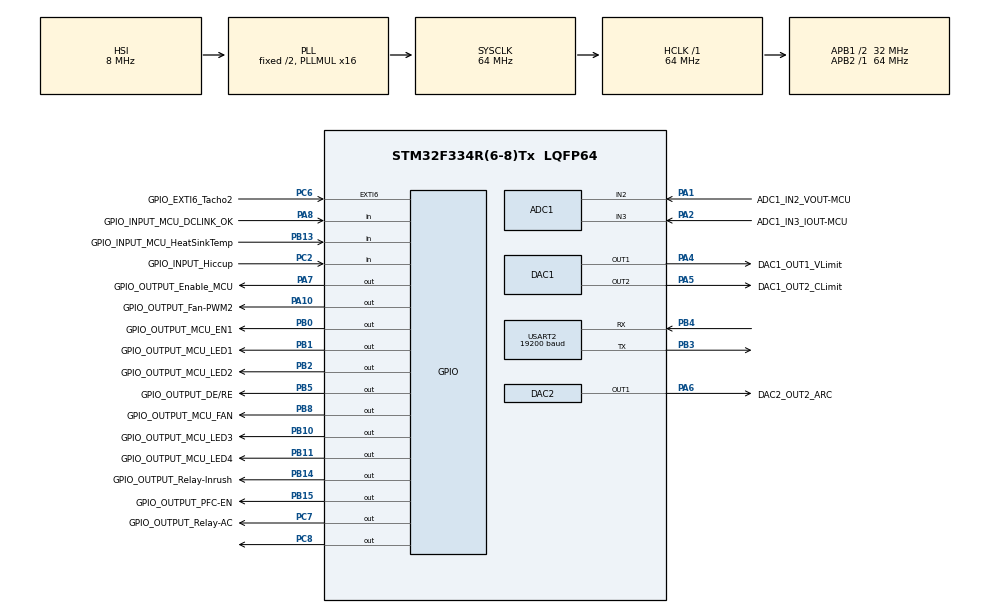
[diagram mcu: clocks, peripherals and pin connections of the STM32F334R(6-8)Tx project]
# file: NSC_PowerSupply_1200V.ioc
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ADC1.Channel-6\#ChannelRegularConversion=ADC_CHANNEL_2
ADC1.Channel-7\#ChannelRegularConversion=ADC_CHANNEL_3
ADC1.ContinuousConvMode=ENABLE
ADC1.DMAContinuousRequests=ENABLE
ADC1.NbrOfConversion=2
ADC1.Rank-7\#ChannelRegularConversion=2
ADC1.SamplingTime-6\#ChannelRegularConversion=ADC_SAMPLETIME_181CYCLES_5
ADC1.SamplingTime-7\#ChannelRegularConversion=ADC_SAMPLETIME_181CYCLES_5
ADC1.SubFamily=STM32F334x8
ADC1.master=1
DAC1.DAC_OutputBuffer=DAC_OUTPUTBUFFER_DISABLE
Dma.ADC1.0.Direction=DMA_PERIPH_TO_MEMORY
Dma.ADC1.0.Instance=DMA1_Channel1
Dma.ADC1.0.MemDataAlignment=DMA_MDATAALIGN_WORD
Dma.ADC1.0.MemInc=DMA_MINC_ENABLE
Dma.ADC1.0.Mode=DMA_CIRCULAR
Dma.ADC1.0.PeriphDataAlignment=DMA_PDATAALIGN_WORD
Dma.ADC1.0.PeriphInc=DMA_PINC_DISABLE
Dma.ADC1.0.Priority=DMA_PRIORITY_LOW
Dma.Request0=ADC1
FREERTOS.INCLUDE_vTaskDelete=1
FREERTOS.Tasks01=defaultTask,8,128,StartDefaultTask,Default,NULL,Dynamic,NULL,NULL;BoardCommTask,54,128,BoardComm,Default,NULL,Dynamic,NULL,NULL;SputterTask,55,128,Sputter,Default,NULL,Dynamic,NULL,NULL;ADC_Caculation_,53,128,ADC_Caculation,Default,NULL,Dynamic,NULL,NULL
FREERTOS.configTOTAL_HEAP_SIZE=4096
FREERTOS.configUSE_NEWLIB_REENTRANT=1
FREERTOS.configUSE_PREEMPTION=1
Mcu.Family=STM32F3
Mcu.Name=STM32F334R(6-8)Tx
Mcu.Package=LQFP64
NVIC.DMA1_Channel1_IRQn=true\:5\:0\:true\:false\:true\:true\:true\:true\:true
NVIC.EXTI9_5_IRQn=true\:5\:0\:false\:false\:true\:true\:true\:true\:true
NVIC.PriorityGroup=NVIC_PRIORITYGROUP_4
NVIC.TIM1_UP_TIM16_IRQn=true\:5\:0\:false\:false\:true\:true\:true\:true\:true
NVIC.TIM6_DAC1_IRQn=true\:15\:0\:false\:false\:true\:false\:true\:true\:true
NVIC.TimeBase=TIM6_DAC1_IRQn
NVIC.TimeBaseIP=TIM6
NVIC.USART2_IRQn=true\:5\:0\:true\:false\:true\:true\:true\:true\:true
PA1.GPIO_Label=ADC1_IN2_VOUT-MCU
PA1.Mode=IN2-Single-Ended
PA1.Signal=ADC1_IN2
PA10.GPIO_Label=GPIO_OUTPUT_Fan-PWM2
PA10.Signal=GPIO_Output
PA13.Mode=Serial_Wire
PA13.Signal=SYS_JTMS-SWDIO
PA14.Mode=Serial_Wire
PA14.Signal=SYS_JTCK-SWCLK
PA2.GPIO_Label=ADC1_IN3_IOUT-MCU
PA2.Mode=IN3-Single-Ended
PA2.Signal=ADC1_IN3
PA4.GPIO_Label=DAC1_OUT1_VLimit
PA4.GPIO_Mode=GPIO_MODE_ANALOG
PA4.GPIO_PuPd=GPIO_NOPULL
PA4.Signal=COMP_DAC11_group
PA5.GPIO_Label=DAC1_OUT2_CLimit
PA5.GPIO_Mode=GPIO_MODE_ANALOG
PA5.GPIO_PuPd=GPIO_NOPULL
PA5.Signal=COMP_DAC12_group
PA6.GPIO_Label=DAC2_OUT2_ARC
PA6.Signal=COMP_DAC21_group
PA7.GPIO_Label=GPIO_OUTPUT_Enable_MCU
PA7.PinState=GPIO_PIN_RESET
PA7.Signal=GPIO_Output
PA8.GPIO_Label=GPIO_INPUT_MCU_DCLINK_OK
PA8.Signal=GPIO_Input
PB0.GPIO_Label=GPIO_OUTPUT_MCU_EN1
PB0.Signal=GPIO_Output
PB1.GPIO_Label=GPIO_OUTPUT_MCU_LED1
PB1.Signal=GPIO_Output
PB10.GPIO_Label=GPIO_OUTPUT_MCU_LED3
PB10.Signal=GPIO_Output
PB11.GPIO_Label=GPIO_OUTPUT_MCU_LED4
PB11.Signal=GPIO_Output
PB13.GPIO_Label=GPIO_INPUT_MCU_HeatSinkTemp
PB13.Signal=GPIO_Input
PB14.GPIO_Label=GPIO_OUTPUT_Relay-Inrush
PB14.Signal=GPIO_Output
PB15.GPIO_Label=GPIO_OUTPUT_PFC-EN
PB15.GPIO_ModeDefaultOutputPP=GPIO_MODE_OUTPUT_PP
PB15.GPIO_PuPd=GPIO_NOPULL
PB15.GPIO_Speed=GPIO_SPEED_FREQ_LOW
PB15.Signal=GPIO_Output
PB2.GPIO_Label=GPIO_OUTPUT_MCU_LED2
PB2.Signal=GPIO_Output
PB3.Mode=Asynchronous
PB3.Signal=USART2_TX
PB4.Mode=Asynchronous
PB4.Signal=USART2_RX
PB5.GPIO_Label=GPIO_OUTPUT_DE/RE
PB5.Signal=GPIO_Output
PB8.GPIO_Label=GPIO_OUTPUT_MCU_FAN
PB8.Signal=GPIO_Output
PC2.GPIO_Label=GPIO_INPUT_Hiccup
PC2.GPIO_PuPd=GPIO_PULLUP
PC2.Signal=GPIO_Input
PC6.GPIO_Label=GPIO_EXTI6_Tacho2
PC6.GPIO_ModeDefaultEXTI=GPIO_MODE_IT_RISING
PC6.Signal=GPXTI6
PC7.GPIO_Label=GPIO_OUTPUT_Relay-AC
PC7.Signal=GPIO_Output
PC8.Signal=GPIO_Output
PF0\ /\ OSC_IN.Signal=RCC_OSC_IN
PF1\ /\ OSC_OUT.Signal=RCC_OSC_OUT
ProjectManager.HeapSize=0x200
ProjectManager.StackSize=0x400
ProjectManager.TargetToolchain=STM32CubeIDE
RCC.AHBFreq_Value=64000000
RCC.APB1CLKDivider=RCC_HCLK_DIV2
RCC.APB1Freq_Value=32000000
RCC.APB1TimFreq_Value=64000000
RCC.APB2Freq_Value=64000000
RCC.APB2TimFreq_Value=64000000
RCC.CortexFreq_Value=64000000
RCC.HCLKFreq_Value=64000000
RCC.HSE_VALUE=8000000
RCC.HSI_VALUE=8000000
RCC.LSE_VALUE=32768
RCC.PLLMUL=RCC_PLL_MUL16
RCC.SYSCLKFreq_VALUE=64000000
RCC.SYSCLKSourceVirtual=RCC_SYSCLKSOURCE_PLLCLK
RCC.Usart1ClockSelection=RCC_USART1CLKSOURCE_SYSCLK
RCC.Usart2ClockSelection=RCC_USART2CLKSOURCE_SYSCLK
SH.COMP_DAC11_group.0=DAC1_OUT1,DAC_OUT1
SH.COMP_DAC12_group.0=DAC1_OUT2,DAC_OUT2
SH.COMP_DAC21_group.0=DAC2_OUT1,Switch_Enable_OUT1
TIM1.AutoReloadPreload=TIM_AUTORELOAD_PRELOAD_ENABLE
TIM1.Period=2000
TIM1.Prescaler=32000
TIM1.TIM_MasterOutputTrigger=TIM_TRGO_UPDATE
USART2.BaudRate=19200
USART2.VirtualMode-Asynchronous=VM_ASYNC
VP_CRC_VS_CRC.Mode=CRC_Activate
VP_FREERTOS_VS_CMSIS_V2.Mode=CMSIS_V2
VP_SYS_VS_tim6.Mode=TIM6
VP_TIM1_VS_ClockSourceINT.Mode=Internal
board=custom

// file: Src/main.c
/* USER CODE BEGIN Header */
/**
  ******************************************************************************
  * @file           : main.c
  * @brief          : Main program body
  ******************************************************************************
  * @attention
  *
  * <h2><center>&copy; Copyright (c) 2022 STMicroelectronics.
  * All rights reserved.</center></h2>
  *
  * This software component is licensed by ST under BSD 3-Clause license,
  * the "License"; You may not use this file except in compliance with the
  * License. You may obtain a copy of the License at:
  *                        opensource.org/licenses/BSD-3-Clause
  *
  ******************************************************************************
  */
/* USER CODE END Header */
#include "main.h"
#include "cmsis_os.h"

/* USER CODE BEGIN Includes */
#include "string.h"
#include "stdio.h"
#include "stdint.h"
#include "BoardComm.h"
#include "Sputter.h"
#include "ADC_Calculation.h"

/* USER CODE END Includes */

ADC_HandleTypeDef hadc1;
DMA_HandleTypeDef hdma_adc1;

CRC_HandleTypeDef hcrc;

DAC_HandleTypeDef hdac1;
DAC_HandleTypeDef hdac2;

TIM_HandleTypeDef htim1;

UART_HandleTypeDef huart2;

/* Definitions for defaultTask */
osThreadId_t defaultTaskHandle;
const osThreadAttr_t defaultTask_attributes = {
  .name = "defaultTask",
  .stack_size = 128 * 4,
  .priority = (osPriority_t) osPriorityLow,
};
/* Definitions for BoardCommTask */
osThreadId_t BoardCommTaskHandle;
const osThreadAttr_t BoardCommTask_attributes = {
  .name = "BoardCommTask",
  .stack_size = 128 * 4,
  .priority = (osPriority_t) osPriorityRealtime6,
};
/* Definitions for SputterTask */
osThreadId_t SputterTaskHandle;
const osThreadAttr_t SputterTask_attributes = {
  .name = "SputterTask",
  .stack_size = 128 * 4,
  .priority = (osPriority_t) osPriorityRealtime7,
};
/* Definitions for ADC_Caculation_ */
osThreadId_t ADC_Caculation_Handle;
const osThreadAttr_t ADC_Caculation__attributes = {
  .name = "ADC_Caculation_",
  .stack_size = 128 * 4,
  .priority = (osPriority_t) osPriorityRealtime5,
};
/* USER CODE BEGIN PV */

uint32_t ADC_Calibration_Factor;
uint32_t ADC_Buffer[5];

GPIO_PinState flag;
/* USER CODE END PV */

void SystemClock_Config(void);
static void MX_GPIO_Init(void);
static void MX_DMA_Init(void);
static void MX_ADC1_Init(void);
static void MX_DAC1_Init(void);
static void MX_USART2_UART_Init(void);
static void MX_CRC_Init(void);
static void MX_DAC2_Init(void);
static void MX_TIM1_Init(void);
void StartDefaultTask(void *argument);
void BoardComm(void *argument);
void Sputter(void *argument);
void ADC_Caculation(void *argument);

/* USER CODE BEGIN PFP */
void i2s(unsigned long int ,char str[5]);                // Integer to string data conversion

/* USER CODE END PFP */

int main(void)
{

  /* MCU Configuration--------------------------------------------------------*/

  /* Reset of all peripherals, Initializes the Flash interface and the Systick. */
  HAL_Init();

  /* Configure the system clock */
  SystemClock_Config();

  /* Initialize all configured peripherals */
  MX_GPIO_Init();
  MX_DMA_Init();
  MX_ADC1_Init();
  MX_DAC1_Init();
  MX_USART2_UART_Init();
  MX_CRC_Init();
  MX_DAC2_Init();
  MX_TIM1_Init();
  /* USER CODE BEGIN 2 */
	HAL_DAC_Start(&hdac1, DAC_CHANNEL_1);
	HAL_DAC_Start(&hdac1, DAC_CHANNEL_2);
	HAL_DAC_Start(&hdac2, DAC_CHANNEL_1);
	//HAL_DAC_Start(&hdac2, DAC_CHANNEL_2);
	__HAL_UART_ENABLE_IT(&huart2, UART_IT_RXNE);	// Receive Data register not empty interrupt
	__HAL_UART_ENABLE_IT(&huart2, UART_IT_TC);		// Transmission complete interrupt
	HAL_ADCEx_Calibration_Start(&hadc1, ADC_SINGLE_ENDED);
	ADC_Calibration_Factor = HAL_ADCEx_Calibration_GetValue(&hadc1, ADC_SINGLE_ENDED);
	HAL_ADCEx_Calibration_SetValue(&hadc1, ADC_SINGLE_ENDED, ADC_Calibration_Factor);
	HAL_ADC_Start_DMA(&hadc1, (uint32_t*) ADC_Buffer, 4);
	HAL_TIM_Base_Start_IT(&htim1);
	HAL_GPIO_WritePin(GPIOB,GPIO_PIN_5,GPIO_PIN_RESET);							// DE/RE = 0 ----> ADM485 is in recieve mode
	HAL_GPIO_WritePin(GPIOB,GPIO_PIN_15,GPIO_PIN_SET);							// Disable PFC
	HAL_GPIO_WritePin(GPIOB,GPIO_PIN_1,GPIO_PIN_SET);								// MCU active

  /* USER CODE END 2 */

  /* Init scheduler */
  osKernelInitialize();

  /* Create the thread(s) */
  /* creation of defaultTask */
  defaultTaskHandle = osThreadNew(StartDefaultTask, NULL, &defaultTask_attributes);

  /* creation of BoardCommTask */
  BoardCommTaskHandle = osThreadNew(BoardComm, NULL, &BoardCommTask_attributes);

  /* creation of SputterTask */
  SputterTaskHandle = osThreadNew(Sputter, NULL, &SputterTask_attributes);

  /* creation of ADC_Caculation_ */
  ADC_Caculation_Handle = osThreadNew(ADC_Caculation, NULL, &ADC_Caculation__attributes);

  /* Start scheduler */
  osKernelStart();

  /* We should never get here as control is now taken by the scheduler */
  /* Infinite loop */
  while (1)
  {

  }
}

void SystemClock_Config(void)
{
  RCC_OscInitTypeDef RCC_OscInitStruct = {0};
  RCC_ClkInitTypeDef RCC_ClkInitStruct = {0};
  RCC_PeriphCLKInitTypeDef PeriphClkInit = {0};

  /** Initializes the RCC Oscillators according to the specified parameters
  * in the RCC_OscInitTypeDef structure.
  */
  RCC_OscInitStruct.OscillatorType = RCC_OSCILLATORTYPE_HSI;
  RCC_OscInitStruct.HSIState = RCC_HSI_ON;
  RCC_OscInitStruct.HSICalibrationValue = RCC_HSICALIBRATION_DEFAULT;
  RCC_OscInitStruct.PLL.PLLState = RCC_PLL_ON;
  RCC_OscInitStruct.PLL.PLLSource = RCC_PLLSOURCE_HSI;
  RCC_OscInitStruct.PLL.PLLMUL = RCC_PLL_MUL16;
  if (HAL_RCC_OscConfig(&RCC_OscInitStruct) != HAL_OK)
  {
    Error_Handler();
  }

  /** Initializes the CPU, AHB and APB buses clocks
  */
  RCC_ClkInitStruct.ClockType = RCC_CLOCKTYPE_HCLK|RCC_CLOCKTYPE_SYSCLK
                              |RCC_CLOCKTYPE_PCLK1|RCC_CLOCKTYPE_PCLK2;
  RCC_ClkInitStruct.SYSCLKSource = RCC_SYSCLKSOURCE_PLLCLK;
  RCC_ClkInitStruct.AHBCLKDivider = RCC_SYSCLK_DIV1;
  RCC_ClkInitStruct.APB1CLKDivider = RCC_HCLK_DIV2;
  RCC_ClkInitStruct.APB2CLKDivider = RCC_HCLK_DIV1;

  if (HAL_RCC_ClockConfig(&RCC_ClkInitStruct, FLASH_LATENCY_2) != HAL_OK)
  {
    Error_Handler();
  }
  PeriphClkInit.PeriphClockSelection = RCC_PERIPHCLK_TIM1|RCC_PERIPHCLK_ADC12;
  PeriphClkInit.Adc12ClockSelection = RCC_ADC12PLLCLK_DIV1;
  PeriphClkInit.Tim1ClockSelection = RCC_TIM1CLK_HCLK;
  if (HAL_RCCEx_PeriphCLKConfig(&PeriphClkInit) != HAL_OK)
  {
    Error_Handler();
  }
}

static void MX_ADC1_Init(void)
{

  ADC_MultiModeTypeDef multimode = {0};
  ADC_ChannelConfTypeDef sConfig = {0};

  /** Common config
  */
  hadc1.Instance = ADC1;
  hadc1.Init.ClockPrescaler = ADC_CLOCK_ASYNC_DIV1;
  hadc1.Init.Resolution = ADC_RESOLUTION_12B;
  hadc1.Init.ScanConvMode = ADC_SCAN_ENABLE;
  hadc1.Init.ContinuousConvMode = ENABLE;
  hadc1.Init.DiscontinuousConvMode = DISABLE;
  hadc1.Init.ExternalTrigConvEdge = ADC_EXTERNALTRIGCONVEDGE_NONE;
  hadc1.Init.ExternalTrigConv = ADC_SOFTWARE_START;
  hadc1.Init.DataAlign = ADC_DATAALIGN_RIGHT;
  hadc1.Init.NbrOfConversion = 2;
  hadc1.Init.DMAContinuousRequests = ENABLE;
  hadc1.Init.EOCSelection = ADC_EOC_SINGLE_CONV;
  hadc1.Init.LowPowerAutoWait = DISABLE;
  hadc1.Init.Overrun = ADC_OVR_DATA_OVERWRITTEN;
  if (HAL_ADC_Init(&hadc1) != HAL_OK)
  {
    Error_Handler();
  }

  /** Configure the ADC multi-mode
  */
  multimode.Mode = ADC_MODE_INDEPENDENT;
  if (HAL_ADCEx_MultiModeConfigChannel(&hadc1, &multimode) != HAL_OK)
  {
    Error_Handler();
  }

  /** Configure Regular Channel
  */
  sConfig.Channel = ADC_CHANNEL_2;
  sConfig.Rank = ADC_REGULAR_RANK_1;
  sConfig.SingleDiff = ADC_SINGLE_ENDED;
  sConfig.SamplingTime = ADC_SAMPLETIME_181CYCLES_5;
  sConfig.OffsetNumber = ADC_OFFSET_NONE;
  sConfig.Offset = 0;
  if (HAL_ADC_ConfigChannel(&hadc1, &sConfig) != HAL_OK)
  {
    Error_Handler();
  }

  /** Configure Regular Channel
  */
  sConfig.Channel = ADC_CHANNEL_3;
  sConfig.Rank = ADC_REGULAR_RANK_2;
  if (HAL_ADC_ConfigChannel(&hadc1, &sConfig) != HAL_OK)
  {
    Error_Handler();
  }

}

static void MX_CRC_Init(void)
{

  hcrc.Instance = CRC;
  hcrc.Init.DefaultPolynomialUse = DEFAULT_POLYNOMIAL_ENABLE;
  hcrc.Init.DefaultInitValueUse = DEFAULT_INIT_VALUE_ENABLE;
  hcrc.Init.InputDataInversionMode = CRC_INPUTDATA_INVERSION_NONE;
  hcrc.Init.OutputDataInversionMode = CRC_OUTPUTDATA_INVERSION_DISABLE;
  hcrc.InputDataFormat = CRC_INPUTDATA_FORMAT_BYTES;
  if (HAL_CRC_Init(&hcrc) != HAL_OK)
  {
    Error_Handler();
  }

}

static void MX_DAC1_Init(void)
{

  DAC_ChannelConfTypeDef sConfig = {0};

  /** DAC Initialization
  */
  hdac1.Instance = DAC1;
  if (HAL_DAC_Init(&hdac1) != HAL_OK)
  {
    Error_Handler();
  }

  /** DAC channel OUT1 config
  */
  sConfig.DAC_Trigger = DAC_TRIGGER_NONE;
  sConfig.DAC_OutputBuffer = DAC_OUTPUTBUFFER_DISABLE;
  if (HAL_DAC_ConfigChannel(&hdac1, &sConfig, DAC_CHANNEL_1) != HAL_OK)
  {
    Error_Handler();
  }

  /** DAC channel OUT2 config
  */
  sConfig.DAC_OutputSwitch = DAC_OUTPUTSWITCH_ENABLE;
  if (HAL_DAC_ConfigChannel(&hdac1, &sConfig, DAC_CHANNEL_2) != HAL_OK)
  {
    Error_Handler();
  }

}

static void MX_DAC2_Init(void)
{

  DAC_ChannelConfTypeDef sConfig = {0};

  /** DAC Initialization
  */
  hdac2.Instance = DAC2;
  if (HAL_DAC_Init(&hdac2) != HAL_OK)
  {
    Error_Handler();
  }

  /** DAC channel OUT1 config
  */
  sConfig.DAC_Trigger = DAC_TRIGGER_NONE;
  sConfig.DAC_OutputSwitch = DAC_OUTPUTSWITCH_ENABLE;
  if (HAL_DAC_ConfigChannel(&hdac2, &sConfig, DAC_CHANNEL_1) != HAL_OK)
  {
    Error_Handler();
  }

}

static void MX_TIM1_Init(void)
{

  TIM_ClockConfigTypeDef sClockSourceConfig = {0};
  TIM_MasterConfigTypeDef sMasterConfig = {0};

  htim1.Instance = TIM1;
  htim1.Init.Prescaler = 32000;
  htim1.Init.CounterMode = TIM_COUNTERMODE_UP;
  htim1.Init.Period = 2000;
  htim1.Init.ClockDivision = TIM_CLOCKDIVISION_DIV1;
  htim1.Init.RepetitionCounter = 0;
  htim1.Init.AutoReloadPreload = TIM_AUTORELOAD_PRELOAD_ENABLE;
  if (HAL_TIM_Base_Init(&htim1) != HAL_OK)
  {
    Error_Handler();
  }
  sClockSourceConfig.ClockSource = TIM_CLOCKSOURCE_INTERNAL;
  if (HAL_TIM_ConfigClockSource(&htim1, &sClockSourceConfig) != HAL_OK)
  {
    Error_Handler();
  }
  sMasterConfig.MasterOutputTrigger = TIM_TRGO_UPDATE;
  sMasterConfig.MasterOutputTrigger2 = TIM_TRGO2_RESET;
  sMasterConfig.MasterSlaveMode = TIM_MASTERSLAVEMODE_DISABLE;
  if (HAL_TIMEx_MasterConfigSynchronization(&htim1, &sMasterConfig) != HAL_OK)
  {
    Error_Handler();
  }

}

static void MX_USART2_UART_Init(void)
{

  huart2.Instance = USART2;
  huart2.Init.BaudRate = 19200;
  huart2.Init.WordLength = UART_WORDLENGTH_8B;
  huart2.Init.StopBits = UART_STOPBITS_1;
  huart2.Init.Parity = UART_PARITY_NONE;
  huart2.Init.Mode = UART_MODE_TX_RX;
  huart2.Init.HwFlowCtl = UART_HWCONTROL_NONE;
  huart2.Init.OverSampling = UART_OVERSAMPLING_16;
  huart2.Init.OneBitSampling = UART_ONE_BIT_SAMPLE_DISABLE;
  huart2.AdvancedInit.AdvFeatureInit = UART_ADVFEATURE_NO_INIT;
  if (HAL_UART_Init(&huart2) != HAL_OK)
  {
    Error_Handler();
  }

}

static void MX_DMA_Init(void)
{

  /* DMA controller clock enable */
  __HAL_RCC_DMA1_CLK_ENABLE();

  /* DMA interrupt init */
  /* DMA1_Channel1_IRQn interrupt configuration */
  HAL_NVIC_SetPriority(DMA1_Channel1_IRQn, 5, 0);
  HAL_NVIC_EnableIRQ(DMA1_Channel1_IRQn);

}

static void MX_GPIO_Init(void)
{
  GPIO_InitTypeDef GPIO_InitStruct = {0};

  /* GPIO Ports Clock Enable */
  __HAL_RCC_GPIOF_CLK_ENABLE();
  __HAL_RCC_GPIOC_CLK_ENABLE();
  __HAL_RCC_GPIOA_CLK_ENABLE();
  __HAL_RCC_GPIOB_CLK_ENABLE();

  /*Configure GPIO pin Output Level */
  HAL_GPIO_WritePin(GPIOA, GPIO_OUTPUT_Enable_MCU_Pin|GPIO_OUTPUT_Fan_PWM2_Pin, GPIO_PIN_RESET);

  /*Configure GPIO pin Output Level */
  HAL_GPIO_WritePin(GPIOB, GPIO_OUTPUT_MCU_EN1_Pin|GPIO_OUTPUT_MCU_LED1_Pin|GPIO_OUTPUT_MCU_LED2_Pin|GPIO_OUTPUT_MCU_LED3_Pin
                          |GPIO_OUTPUT_MCU_LED4_Pin|GPIO_OUTPUT_Relay_Inrush_Pin|GPIO_OUTPUT_PFC_EN_Pin|GPIO_OUTPUT_DE_RE_Pin
                          |GPIO_OUTPUT_MCU_FAN_Pin, GPIO_PIN_RESET);

  /*Configure GPIO pin Output Level */
  HAL_GPIO_WritePin(GPIOC, GPIO_OUTPUT_Relay_AC_Pin|GPIO_PIN_8, GPIO_PIN_RESET);

  /*Configure GPIO pin : GPIO_INPUT_Hiccup_Pin */
  GPIO_InitStruct.Pin = GPIO_INPUT_Hiccup_Pin;
  GPIO_InitStruct.Mode = GPIO_MODE_INPUT;
  GPIO_InitStruct.Pull = GPIO_PULLUP;
  HAL_GPIO_Init(GPIO_INPUT_Hiccup_GPIO_Port, &GPIO_InitStruct);

  /*Configure GPIO pins : GPIO_OUTPUT_Enable_MCU_Pin GPIO_OUTPUT_Fan_PWM2_Pin */
  GPIO_InitStruct.Pin = GPIO_OUTPUT_Enable_MCU_Pin|GPIO_OUTPUT_Fan_PWM2_Pin;
  GPIO_InitStruct.Mode = GPIO_MODE_OUTPUT_PP;
  GPIO_InitStruct.Pull = GPIO_NOPULL;
  GPIO_InitStruct.Speed = GPIO_SPEED_FREQ_LOW;
  HAL_GPIO_Init(GPIOA, &GPIO_InitStruct);

  /*Configure GPIO pins : GPIO_OUTPUT_MCU_EN1_Pin GPIO_OUTPUT_MCU_LED1_Pin GPIO_OUTPUT_MCU_LED2_Pin GPIO_OUTPUT_MCU_LED3_Pin
                           GPIO_OUTPUT_MCU_LED4_Pin GPIO_OUTPUT_Relay_Inrush_Pin GPIO_OUTPUT_PFC_EN_Pin GPIO_OUTPUT_DE_RE_Pin
                           GPIO_OUTPUT_MCU_FAN_Pin */
  GPIO_InitStruct.Pin = GPIO_OUTPUT_MCU_EN1_Pin|GPIO_OUTPUT_MCU_LED1_Pin|GPIO_OUTPUT_MCU_LED2_Pin|GPIO_OUTPUT_MCU_LED3_Pin
                          |GPIO_OUTPUT_MCU_LED4_Pin|GPIO_OUTPUT_Relay_Inrush_Pin|GPIO_OUTPUT_PFC_EN_Pin|GPIO_OUTPUT_DE_RE_Pin
                          |GPIO_OUTPUT_MCU_FAN_Pin;
  GPIO_InitStruct.Mode = GPIO_MODE_OUTPUT_PP;
  GPIO_InitStruct.Pull = GPIO_NOPULL;
  GPIO_InitStruct.Speed = GPIO_SPEED_FREQ_LOW;
  HAL_GPIO_Init(GPIOB, &GPIO_InitStruct);

  /*Configure GPIO pin : GPIO_INPUT_MCU_HeatSinkTemp_Pin */
  GPIO_InitStruct.Pin = GPIO_INPUT_MCU_HeatSinkTemp_Pin;
  GPIO_InitStruct.Mode = GPIO_MODE_INPUT;
  GPIO_InitStruct.Pull = GPIO_NOPULL;
  HAL_GPIO_Init(GPIO_INPUT_MCU_HeatSinkTemp_GPIO_Port, &GPIO_InitStruct);

  /*Configure GPIO pin : GPIO_EXTI6_Tacho2_Pin */
  GPIO_InitStruct.Pin = GPIO_EXTI6_Tacho2_Pin;
  GPIO_InitStruct.Mode = GPIO_MODE_IT_RISING;
  GPIO_InitStruct.Pull = GPIO_NOPULL;
  HAL_GPIO_Init(GPIO_EXTI6_Tacho2_GPIO_Port, &GPIO_InitStruct);

  /*Configure GPIO pins : GPIO_OUTPUT_Relay_AC_Pin PC8 */
  GPIO_InitStruct.Pin = GPIO_OUTPUT_Relay_AC_Pin|GPIO_PIN_8;
  GPIO_InitStruct.Mode = GPIO_MODE_OUTPUT_PP;
  GPIO_InitStruct.Pull = GPIO_NOPULL;
  GPIO_InitStruct.Speed = GPIO_SPEED_FREQ_LOW;
  HAL_GPIO_Init(GPIOC, &GPIO_InitStruct);

  /*Configure GPIO pin : GPIO_INPUT_MCU_DCLINK_OK_Pin */
  GPIO_InitStruct.Pin = GPIO_INPUT_MCU_DCLINK_OK_Pin;
  GPIO_InitStruct.Mode = GPIO_MODE_INPUT;
  GPIO_InitStruct.Pull = GPIO_NOPULL;
  HAL_GPIO_Init(GPIO_INPUT_MCU_DCLINK_OK_GPIO_Port, &GPIO_InitStruct);

  /* EXTI interrupt init*/
  HAL_NVIC_SetPriority(EXTI9_5_IRQn, 5, 0);
  HAL_NVIC_EnableIRQ(EXTI9_5_IRQn);

}

void StartDefaultTask(void *argument)
{
  /* USER CODE BEGIN 5 */
  /* Infinite loop */
  for(;;)
  {
    osDelay(100);
  }
  /* USER CODE END 5 */
}

void BoardComm(void *argument)
{
  /* USER CODE BEGIN BoardComm */
	 BoardCommFunc();
  /* USER CODE END BoardComm */
}

void Sputter(void *argument)
{
  /* USER CODE BEGIN Sputter */
  /* Infinite loop */
	SputterFunc();
  /* USER CODE END Sputter */
}

void ADC_Caculation(void *argument)
{
  /* USER CODE BEGIN ADC_Caculation */
  /* Infinite loop */
	ADC_CaculationFunc();
  /* USER CODE END ADC_Caculation */
}

void HAL_TIM_PeriodElapsedCallback(TIM_HandleTypeDef *htim)
{
  if (htim->Instance == TIM6) {
    HAL_IncTick();
  }
}

void Error_Handler(void)
{
  __disable_irq();
  while (1)
  {
  }
}
